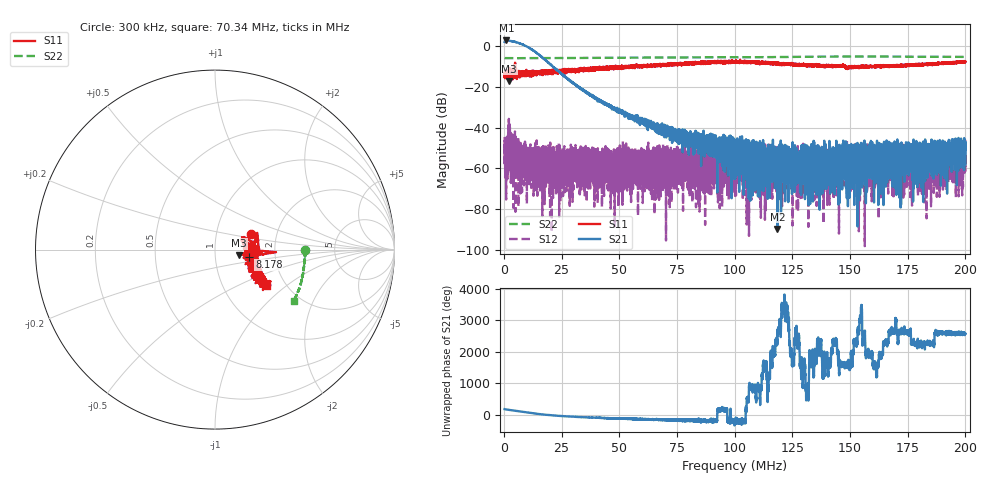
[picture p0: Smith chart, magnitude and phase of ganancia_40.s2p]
# Hz S DB R 50
! CMT, M5065, 19127446, 24.2.4/2
! Date: 11/8/2024 6:42:41 PM
! Data: Format (Calibration Info)
! Freq	S11:dB/Ang(F2)	S21:dB/Ang(F2)	S12:dB/Ang(F2)	S22:dB/Ang(F2)
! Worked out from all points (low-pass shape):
!   9000 points, 300 kHz to 200 MHz, reference 50 ohm
!   highest |S21| = 2.67 dB at 1.055 MHz (marker M1); lowest = -89.7 dB at 118.5 MHz (marker M2)
!   |S21| within 3 dB of the highest: start of sweep to 9.955 MHz
!   lowest |S11| = -17.1 dB at 2.297 MHz (marker M3), VSWR 1.32, Z = 65.5 - j4.15 ohm
!   |S11| at or under -10 dB: start of sweep to 4.38 MHz; 4.856 MHz to 44.95 MHz (40.09 MHz wide, 161 % of centre); 44.95 MHz to 46.81 MHz (1.862 MHz wide, 4.06 % of centre)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
!   |S22| runs from -6.0 to -5.2 dB; largest |S21 - S12| = 1.4
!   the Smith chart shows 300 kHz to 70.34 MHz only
!   S11 on the Smith chart (normalised r, x): 300 kHz: 1.47, +0.27; 8.178 MHz: 1.47, -0.13; 70.34 MHz: 1.61, -0.76
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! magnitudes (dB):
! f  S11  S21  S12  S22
! 300 kHz  -13.2  2.0  -44.6  -6.0
! 1.055 MHz  -14.4  2.7  -46.4  -6.0
! 2.297 MHz  -17.1  2.5  -48.2  -6.0
! 8.178 MHz  -14.1  0.6  -59.1  -6.0
! 24.95 MHz  -12.7  -13.8  -60.0  -5.9
! 33.59 MHz  -11.3  -21.2  -49.8  -5.9
! 39.91 MHz  -10.8  -25.5  -61.8  -5.8
! 44.42 MHz  -11.3  -28.9  -56.9  -5.8
! 50.52 MHz  -10.8  -31.5  -54.3  -5.8
! 66.87 MHz  -9.4  -41.0  -58.5  -5.7
! 70.34 MHz  -8.9  -41.9  -59.9  -5.6
! 100.2 MHz  -7.7  -49.4  -62.2  -5.6
! 118.5 MHz  -8.7  -89.7  -59.0  -5.5
! 133.4 MHz  -9.6  -56.0  -51.3  -5.3
! 144.5 MHz  -9.6  -54.8  -55.6  -5.2
! 147.9 MHz  -10.0  -51.1  -54.0  -5.2
! 151.2 MHz  -10.4  -62.7  -53.3  -5.2
! 166.7 MHz  -10.0  -56.6  -52.7  -5.2
! 172.6 MHz  -9.5  -49.9  -52.3  -5.3
! 197.7 MHz  -7.7  -47.0  -58.5  -5.4
! 199 MHz  -7.9  -47.3  -56.2  -5.4
! 200 MHz  -7.6  -57.9  -46.0  -5.4
